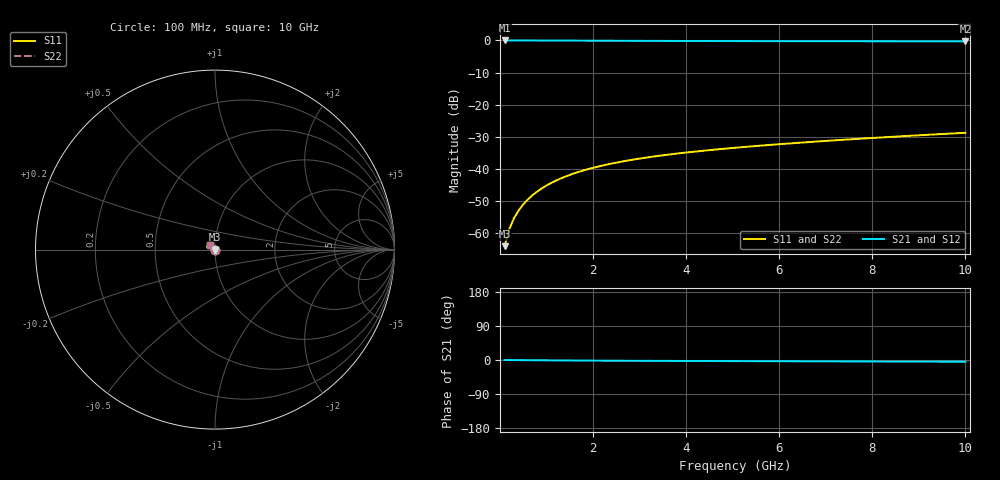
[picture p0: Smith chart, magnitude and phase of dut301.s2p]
! Touchstone file exported from HFSS 2024.1.0
!  File:  C:/UserFiles/LocalFiles/RDL_TSV_Batchsim/temp_TSV1_301_1779614844.aedt
!  Generated:  05:35:15 PM May 24, 2026
!  Design:  TSV1
!  Project:  temp_TSV1_301_1779614844
!  Setup:  Setup1
!  Solution:  Sweep
! Variables:
!  dtsv = 6.72um
!  hbump = 3um
!  htsv = 63.64um
!  lrdl = 252.1521522um
!  p = 40
!  p1 = 58.51um
!  t = 500um
!  trdl = 3um
!  wrdl = 24.89489489um
# GHz S MA R 50.000000
! Terminal data exported
! Port[1] = TSV22_T1
! Port[2] = TSV22_T2
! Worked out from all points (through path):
!   100 points, 100 MHz to 10 GHz, reference 50 ohm
!   highest |S21| = 0.00 dB at 100 MHz (marker M1); lowest = -0.3 dB at 10 GHz (marker M2)
!   lowest |S11| = -64.2 dB at 100 MHz (marker M3), VSWR 1.00, Z = 50 - j0.0566 ohm
!   |S11| at or under -10 dB: start of sweep to end of sweep
!   |S22| runs from -64.2 to -28.8 dB; largest |S21 - S12| = 3.1e-15
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0.1  0.0006183 -66.2  0.9997 -0.1  0.9997 -0.1  0.0006183 -66.2
! Gamma 0 0 0 0
! Port Impedance 50 0 50 0
0.2  0.00114 -81.4  0.9996 -0.2  0.9996 -0.2  0.00114 -81.4
0.3  0.001682 -88.6  0.9995 -0.3  0.9995 -0.3  0.001682 -88.6
0.4  0.002228 -93.5  0.9993 -0.4  0.9993 -0.4  0.002228 -93.5
0.5  0.002775 -97.5  0.999 -0.5  0.999 -0.5  0.002775 -97.5
0.6  0.00332 -101.0  0.9987 -0.6  0.9987 -0.6  0.00332 -101.0
0.7  0.003863 -104.2  0.9984 -0.6  0.9984 -0.6  0.003863 -104.2
0.8  0.004401 -107.2  0.9981 -0.7  0.9981 -0.7  0.004401 -107.2
0.9  0.004934 -110.1  0.9976 -0.8  0.9976 -0.8  0.004934 -110.1
1.1  0.005982 -115.5  0.9967 -1.0  0.9967 -1.0  0.005982 -115.5
1.4  0.007499 -123.1  0.9952 -1.2  0.9952 -1.2  0.007499 -123.1
1.6  0.008469 -127.8  0.9941 -1.4  0.9941 -1.4  0.008469 -127.8
1.8  0.009405 -132.4  0.9929 -1.5  0.9929 -1.5  0.009405 -132.4
2.1  0.01075 -138.9  0.9911 -1.7  0.9911 -1.7  0.01075 -138.9
2.5  0.01242 -147.0  0.9887 -1.9  0.9887 -1.9  0.01242 -147.0
2.9  0.01398 -154.4  0.9865 -2.1  0.9865 -2.1  0.01398 -154.4
3.4  0.01581 -162.9  0.9838 -2.3  0.9838 -2.3  0.01581 -162.9
4.2  0.0185 -174.6  0.9803 -2.6  0.9803 -2.6  0.0185 -174.6
5.1  0.02134 174.3  0.9771 -2.9  0.9771 -2.9  0.02134 174.3
6.7  0.02619 159.0  0.9731 -3.5  0.9731 -3.5  0.02618 159.0
8.4  0.03133 147.0  0.9704 -4.0  0.9704 -4.0  0.03133 147.0
10  0.03628 138.4  0.9685 -4.6  0.9685 -4.6  0.03628 138.4
